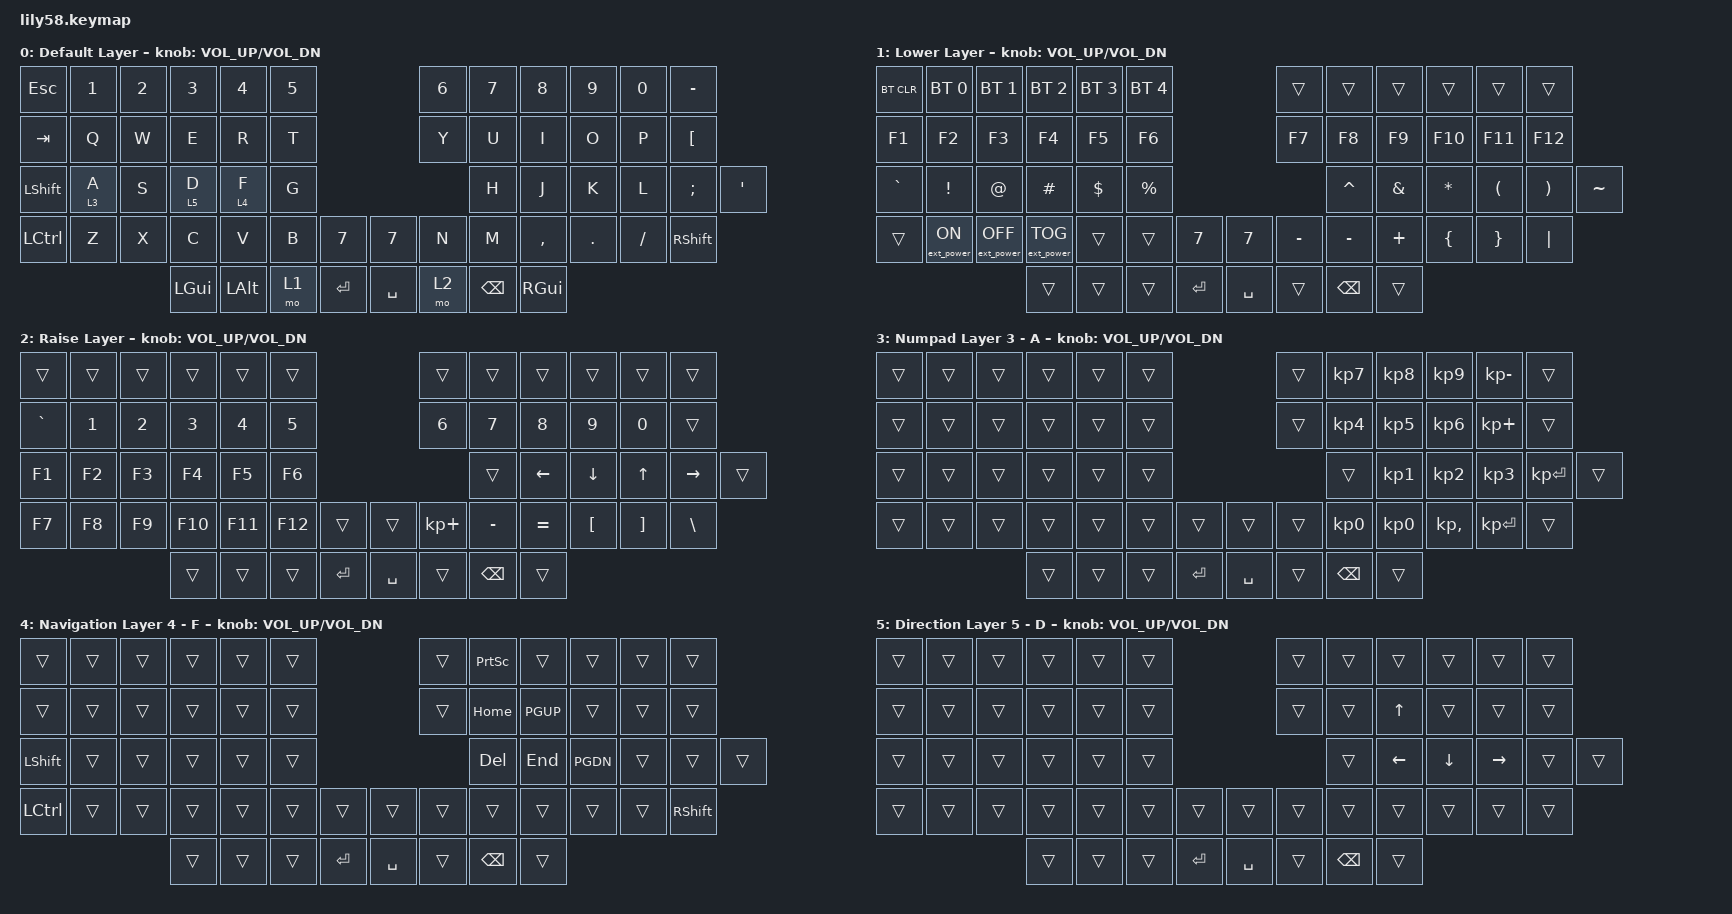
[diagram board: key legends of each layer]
/*
 * Copyright (c) 2020 The ZMK Contributors
 *
 * SPDX-License-Identifier: MIT
 */

#include <behaviors.dtsi>
#include <dt-bindings/zmk/keys.h>
#include <dt-bindings/zmk/bt.h>
#include <dt-bindings/zmk/ext_power.h> 


/ {
    keymap {
        compatible = "zmk,keymap";

        default_layer {
            display-name = "Default Layer";
// ------------------------------------------------------------------------------------------------------------
// |  ESC  |  1  |  2  |  3   |  4   |  5   |                   |  6   |  7    |  8    |  9   |   0   |   -   |
// |  TAB  |  Q  |  W  |  E   |  R   |  T   |                   |  Y   |  U    |  I    |  O   |   P   |  [/Ð  |
// | SHIFT |  A  |  S  |  D   |  F   |  G   |                   |  H   |  J    |  K    |  L   |   ;   |   '   |
// |  CTRL |  Z  |  X  |  C   |  V   |  B   |   "["  |  |  "]"  |  N   |  M    |  ,    |  .   |   /   | SHIFT |
//                     | GUI  | ALT  | LOWER|  ENTER |  | SPACE | RAISE| BSPC  | GUI   |
            bindings = <
&kp ESC   &kp N1 &kp N2 &kp N3   &kp N4   &kp N5                     &kp N6 &kp N7   &kp N8    &kp N9  &kp N0   &kp MINUS
&kp TAB   &kp Q  &kp W  &kp E    &kp R    &kp T                      &kp Y  &kp U    &kp I     &kp O   &kp P    &kp LBKT 
&kp LSHIFT &lt 3 A  &kp S &lt 5 D   &lt 4 F   &kp G                        &kp H  &kp J    &kp K     &kp L   &kp SEMI &kp SQT
&kp LCTRL &kp Z  &kp X  &kp C    &kp V    &kp B  &kp N7     &kp N7     &kp N  &kp M    &kp COMMA &kp DOT &kp FSLH &kp RSHFT
                        &kp LGUI &kp LALT &mo 1  &kp RET    &kp SPACE  &mo 2  &kp BSPC &kp RGUI
            >;

            sensor-bindings = <&inc_dec_kp C_VOL_UP C_VOL_DN>; 
        };

        lower_layer {
            display-name = "Lower Layer";
// ------------------------------------------------------------------------------------------------------------
// | BTCLR | BT1 | BT2 |  BT3 |  BT4 |  BT5 |                   |      |       |       |      |       |       |
// |  F1   |  F2 |  F3 |  F4  |  F5  |  F6  |                   |  F7  |  F8   |  F9   |  F10 |  F11  |  F12  |
// |   `   |  !  |  @  |  #   |  $   |  %   |                   |  ^   |  &    |  *    |  (   |   )   |   ~   |
// |       |     |     |      |      |      |   "{"  |  |  "}"  |  _   |  -    |  +    |  {   |   }   |  "|"  |
//                     |      |      |      |  ENTER |  | SPACE |      | BSPC  |       |
            bindings = <
&bt BT_CLR &bt BT_SEL 0     &bt BT_SEL 1      &bt BT_SEL 2      &bt BT_SEL 3 &bt BT_SEL 4                 &trans    &trans    &trans    &trans    &trans    &trans
&kp F1     &kp F2           &kp F3            &kp F4            &kp F5       &kp F6                       &kp F7    &kp F8    &kp F9    &kp F10   &kp F11   &kp F12
&kp GRAVE  &kp EXCL         &kp AT            &kp HASH          &kp DOLLAR   &kp PRCNT                    &kp CARET &kp AMPS  &kp ASTRK &kp LPAR  &kp RPAR  &kp TILDE
&trans     &ext_power EP_ON &ext_power EP_OFF &ext_power EP_TOG &trans       &trans    &kp N7     &kp N7  &kp MINUS &kp MINUS &kp PLUS  &kp LBRC &kp RBRC  &kp PIPE
                                              &trans            &trans       &trans    &kp RET    &kp SPACE    &trans    &kp BSPC    &trans
            >;

            sensor-bindings = <&inc_dec_kp C_VOL_UP C_VOL_DN>;
        };

        raise_layer {
            display-name = "Raise Layer";
// ------------------------------------------------------------------------------------------------------------
// |       |     |     |      |      |      |                   |      |       |       |      |       |       |
// |   `   |  1  |  2  |  3   |  4   |  5   |                   |  6   |   7   |   8   |  9   |   0   |       |
// |   F1  |  F2 |  F3 |  F4  |  F5  |  F6  |                   |      |   <-  |   v   |  ^   |  ->   |       |
// |   F7  |  F8 |  F9 |  F10 |  F11 |  F12 |   "("  |  |  ")"  |  +   |   -   |   =   |  [   |   ]   |   \   |
//                     |      |      |      |  ENTER |  | SPACE |      |  BSPC |       |
            bindings = <
&trans    &trans &trans &trans  &trans  &trans                       &trans      &trans    &trans    &trans   &trans    &trans
&kp GRAVE &kp N1 &kp N2 &kp N3  &kp N4  &kp N5                       &kp N6      &kp N7    &kp N8    &kp N9   &kp N0    &trans
&kp F1    &kp F2 &kp F3 &kp F4  &kp F5  &kp F6                       &trans      &kp LEFT  &kp DOWN  &kp UP   &kp RIGHT &trans
&kp F7    &kp F8 &kp F9 &kp F10 &kp F11 &kp F12   &trans   &trans    &kp KP_PLUS &kp MINUS &kp EQUAL &kp LBKT &kp RBKT  &kp BSLH
                        &trans  &trans  &trans    &kp RET    &kp SPACE   &trans  &kp BSPC    &trans
            >;

            sensor-bindings = <&inc_dec_kp C_VOL_UP C_VOL_DN>;
        };
        numpad_layer {
            display-name = "Numpad Layer 3 - A";
// ------------------------------------------------------------------------------------------------------------
// |      |      |      |      |      |      |                   |      |   7   |   8   |   9   |   -   |      |
// |      |      |      |      |      |      |                   |      |   4   |   5   |   6   |   +   |      |
// |      |      |      |      |      |      |                   |      |   1   |   2   |   3   | ENTER |      |
// |      |      |      |      |      |      |        |  |       |      |   0   |   0   |   ,   | ENTER |      |
//                      |      |      |      |  ENTER |  | SPACE |      |   BSPC    |       |
        bindings = <
&trans &trans &trans &trans &trans &trans                      &trans     &kp KP_N7  &kp KP_N8   &kp KP_N9   &kp KP_MINUS &trans
&trans &trans &trans &trans &trans &trans                      &trans     &kp KP_N4  &kp KP_N5   &kp KP_N6   &kp KP_PLUS  &trans
&trans &trans &trans &trans &trans &trans                      &trans     &kp KP_N1  &kp KP_N2   &kp KP_N3   &kp KP_ENTER &trans
&trans &trans &trans &trans &trans &trans   &trans  &trans     &trans     &kp KP_N0  &kp KP_N0   &kp KP_COMMA &kp KP_ENTER &trans
                     &trans &trans &trans   &kp RET &kp SPACE  &trans     &kp BSPC     &trans
            >;

            sensor-bindings = <&inc_dec_kp C_VOL_UP C_VOL_DN>;
        };
        nav_layer {
            display-name = "Navigation Layer 4 - F";
// ------------------------------------------------------------------------------------------------------------
// |      |      |      |      |      |      |                   |      | PRTSC |       |      |      |      |
// |      |      |      |      |      |      |                   |      |  HOME |  PGUP |      |      |      |
// | SHIFT|      |      |      |      |      |                   | DEL  |  END  |  PGDN |      |      |      |
// | CTRL |      |      |      |      |      |        |  |       |      |       |       |      |      | SHIFT|
//                      |      |      |      |  ENTER |  | SPACE |      |  BSPC |       |
        bindings = <
&trans &trans &trans &trans &trans &trans                      &trans    &kp PSCRN &trans    &trans    &trans    &trans
&trans &trans &trans &trans &trans &trans                      &trans    &kp HOME  &kp PGUP  &trans    &trans    &trans
&kp LSHFT &trans &trans &trans &trans &trans                   &kp DEL   &kp END   &kp PGDN  &trans    &trans    &trans
&kp LCTRL &trans &trans &trans &trans &trans  &trans &trans    &trans    &trans    &trans    &trans    &trans &kp RSHFT
                       &trans &trans &trans  &kp RET    &kp SPACE     &trans    &kp BSPC  &trans
            >;

            sensor-bindings = <&inc_dec_kp C_VOL_UP C_VOL_DN>;
        };
        dir_layer {
           display-name = "Direction Layer 5 - D";
// ------------------------------------------------------------------------------------------------------------
// |      |      |      |      |      |      |                   |      |      |      |      |      |      |
// |      |      |      |      |      |      |                   |      |      |   ^  |      |      |      |
// |      |      |      |      |      |      |                   |      |   <- |   v  |  ->  |      |      |
// |      |      |      |      |      |      |        |  |       |      |      |      |      |      |      |
//                      |      |      |      |  ENTER |  | SPACE |    |   BSPC   |      |
    bindings = <
&trans &trans &trans &trans &trans &trans                      &trans &trans &trans &trans &trans &trans
&trans &trans &trans &trans &trans &trans                      &trans &trans &kp UP &trans &trans &trans
&trans &trans &trans &trans &trans &trans                      &trans &kp LEFT &kp DOWN &kp RIGHT &trans &trans
&trans &trans &trans &trans &trans &trans  &trans    &trans    &trans &trans &trans &trans &trans &trans
                     &trans &trans &trans  &kp RET   &kp SPACE &trans &kp BSPC &trans
            >;

            sensor-bindings = <&inc_dec_kp C_VOL_UP C_VOL_DN>;
        };
    };
};
